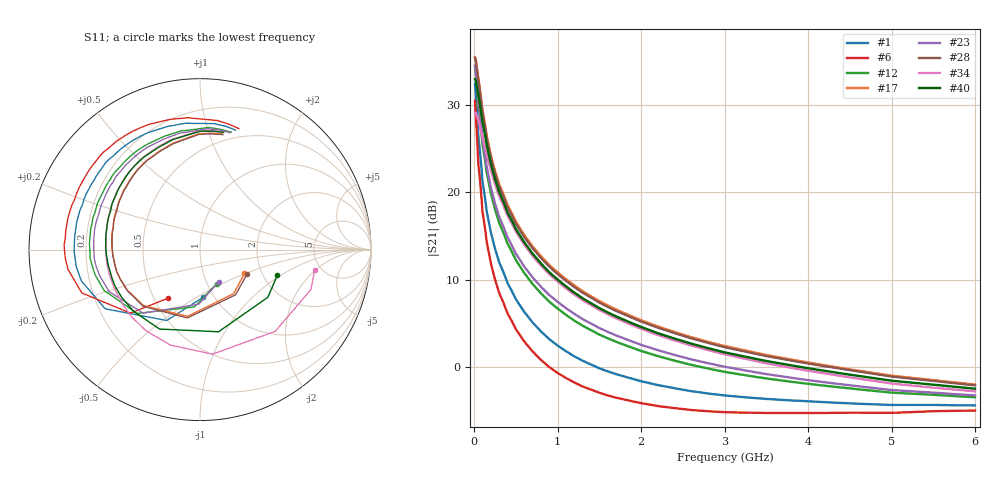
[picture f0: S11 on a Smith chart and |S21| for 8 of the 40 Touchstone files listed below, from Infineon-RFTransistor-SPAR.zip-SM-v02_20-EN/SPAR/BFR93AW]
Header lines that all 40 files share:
! Infineon Technologies  Discrete & RF Semiconductors
! BFR93AW
! Common Emitter S-Parameters:  Jan 2017
# GHz  S  MA  R  50
!  f  S11  S21  S12  S22
! GHz  MAG  ANG  MAG  ANG  MAG  ANG  MAG  ANG
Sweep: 10 MHz to 6 GHz
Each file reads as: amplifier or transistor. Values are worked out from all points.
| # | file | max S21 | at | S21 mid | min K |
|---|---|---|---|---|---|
| 1 | BFR93AW_VCE_1.0V_IC_60mA.s2p | 32.4 dB | 10 MHz | -2.1 dB at 2.2 GHz | 0.65 |
| 2 | BFR93AW_VCE_1.0V_IC_63mA.s2p | 32.1 dB | 10 MHz | -2.5 dB at 2.2 GHz | 0.69 |
| 3 | BFR93AW_VCE_1.0V_IC_70mA.s2p | 31.4 dB | 10 MHz | -3.4 dB at 2.2 GHz | 0.75 |
| 4 | BFR93AW_VCE_1.0V_IC_72mA.s2p | 31.2 dB | 10 MHz | -3.6 dB at 2.2 GHz | 0.75 |
| 5 | BFR93AW_VCE_1.0V_IC_75mA.s2p | 30.9 dB | 10 MHz | -3.9 dB at 2.2 GHz | 0.78 |
| 6 | BFR93AW_VCE_1.0V_IC_80mA.s2p | 30.5 dB | 10 MHz | -4.5 dB at 2.2 GHz | 0.82 |
| 7 | BFR93AW_VCE_1.0V_IC_85mA.s2p | 30.1 dB | 10 MHz | -4.9 dB at 2.2 GHz | 0.84 |
| 8 | BFR93AW_VCE_1.0V_IC_90mA.s2p | 29.7 dB | 10 MHz | -5.4 dB at 2.2 GHz | 0.86 |
| 9 | BFR93AW_VCE_2.0V_IC_60mA.s2p | 35.1 dB | 10 MHz | 3.1 dB at 2.2 GHz | 0.37 |
| 10 | BFR93AW_VCE_2.0V_IC_63mA.s2p | 35.0 dB | 10 MHz | 2.7 dB at 2.2 GHz | 0.43 |
| 11 | BFR93AW_VCE_2.0V_IC_70mA.s2p | 34.5 dB | 10 MHz | 1.6 dB at 2.2 GHz | 0.53 |
| 12 | BFR93AW_VCE_2.0V_IC_72mA.s2p | 34.3 dB | 10 MHz | 1.3 dB at 2.2 GHz | 0.59 |
| 13 | BFR93AW_VCE_2.0V_IC_75mA.s2p | 34.1 dB | 10 MHz | 0.8 dB at 2.2 GHz | 0.63 |
| 14 | BFR93AW_VCE_2.0V_IC_80mA.s2p | 33.6 dB | 10 MHz | 0.1 dB at 2.2 GHz | 0.69 |
| 15 | BFR93AW_VCE_2.0V_IC_85mA.s2p | 33.2 dB | 10 MHz | -0.5 dB at 2.2 GHz | 0.72 |
| 16 | BFR93AW_VCE_2.0V_IC_90mA.s2p | 32.7 dB | 10 MHz | -1.0 dB at 2.2 GHz | 0.74 |
| 17 | BFR93AW_VCE_3.0V_IC_60mA.s2p | 35.5 dB | 10 MHz | 4.7 dB at 2.2 GHz | 0.28 |
| 18 | BFR93AW_VCE_3.0V_IC_63mA.s2p | 35.5 dB | 10 MHz | 4.4 dB at 2.2 GHz | 0.30 |
| 19 | BFR93AW_VCE_3.0V_IC_70mA.s2p | 35.4 dB | 10 MHz | 3.8 dB at 2.2 GHz | 0.37 |
| 20 | BFR93AW_VCE_3.0V_IC_72mA.s2p | 35.3 dB | 10 MHz | 3.6 dB at 2.2 GHz | 0.41 |
| 21 | BFR93AW_VCE_3.0V_IC_75mA.s2p | 35.2 dB | 10 MHz | 3.2 dB at 2.2 GHz | 0.42 |
| 22 | BFR93AW_VCE_3.0V_IC_80mA.s2p | 34.9 dB | 10 MHz | 2.6 dB at 2.2 GHz | 0.51 |
| 23 | BFR93AW_VCE_3.0V_IC_85mA.s2p | 34.5 dB | 10 MHz | 1.9 dB at 2.2 GHz | 0.59 |
| 24 | BFR93AW_VCE_3.0V_IC_90mA.s2p | 34.1 dB | 10 MHz | 1.3 dB at 2.2 GHz | 0.64 |
| 25 | BFR93AW_VCE_4.0V_IC_60mA.s2p | 35.4 dB | 10 MHz | 5.2 dB at 2.2 GHz | 0.24 |
| 26 | BFR93AW_VCE_4.0V_IC_63mA.s2p | 35.4 dB | 10 MHz | 5.1 dB at 2.2 GHz | 0.22 |
| 27 | BFR93AW_VCE_4.0V_IC_70mA.s2p | 35.4 dB | 10 MHz | 4.7 dB at 2.2 GHz | 0.28 |
| 28 | BFR93AW_VCE_4.0V_IC_72mA.s2p | 35.4 dB | 10 MHz | 4.5 dB at 2.2 GHz | 0.34 |
| 29 | BFR93AW_VCE_4.0V_IC_75mA.s2p | 35.4 dB | 10 MHz | 4.3 dB at 2.2 GHz | 0.33 |
| 30 | BFR93AW_VCE_5.0V_IC_60mA.s2p | 35.1 dB | 10 MHz | 5.5 dB at 2.2 GHz | 0.20 |
| 31 | BFR93AW_w_noise_VCE_1.0V_IC_2.0mA.s2p | 17.0 dB | 20 MHz | -0.1 dB at 2.2 GHz | -0.06 |
| 32 | BFR93AW_w_noise_VCE_1.0V_IC_5.0mA.s2p | 24.0 dB | 20 MHz | 2.5 dB at 2.2 GHz | -0.01 |
| 33 | BFR93AW_w_noise_VCE_1.0V_IC_10mA.s2p | 28.6 dB | 20 MHz | 3.6 dB at 2.2 GHz | 0.03 |
| 34 | BFR93AW_w_noise_VCE_1.0V_IC_11mA.s2p | 29.1 dB | 20 MHz | 3.7 dB at 2.2 GHz | 0.05 |
| 35 | BFR93AW_w_noise_VCE_1.0V_IC_15mA.s2p | 30.8 dB | 10 MHz | 3.9 dB at 2.2 GHz | 0.05 |
| 36 | BFR93AW_w_noise_VCE_1.0V_IC_16mA.s2p | 31.2 dB | 10 MHz | 3.9 dB at 2.2 GHz | 0.11 |
| 37 | BFR93AW_w_noise_VCE_1.0V_IC_18mA.s2p | 31.7 dB | 10 MHz | 4.0 dB at 2.2 GHz | 0.12 |
| 38 | BFR93AW_w_noise_VCE_1.0V_IC_20mA.s2p | 32.2 dB | 10 MHz | 4.0 dB at 2.2 GHz | 0.11 |
| 39 | BFR93AW_w_noise_VCE_1.0V_IC_23mA.s2p | 32.8 dB | 10 MHz | 3.9 dB at 2.2 GHz | 0.11 |
| 40 | BFR93AW_w_noise_VCE_1.0V_IC_24mA.s2p | 33.0 dB | 10 MHz | 3.9 dB at 2.2 GHz | 0.13 |

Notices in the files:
Hoja de datos/BFP 450/Infineon-RFTransistor-SPAR.zip-SM-v02_20-EN/SPAR/BFR93AW/BFR93AW_VCE_1.0V_IC_60mA.s2p:
(c) 2017  Infineon Technologies AG, Munich
